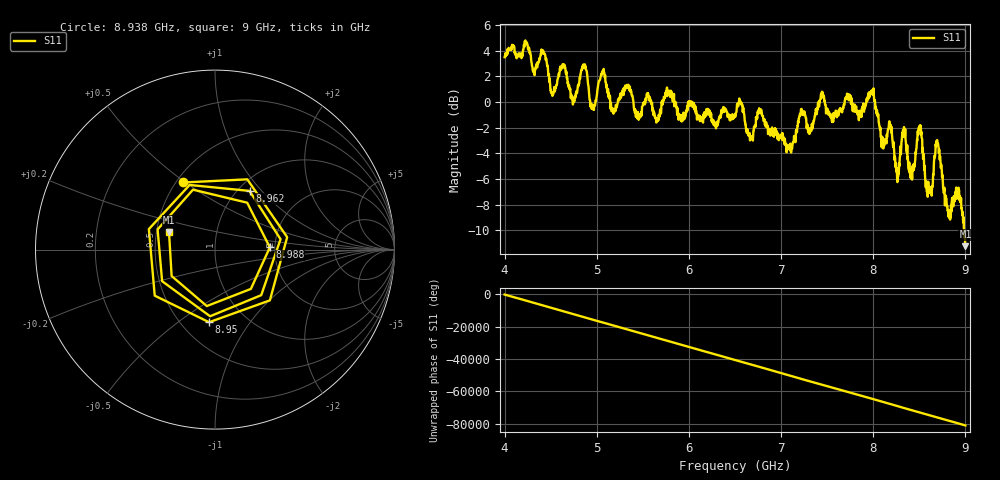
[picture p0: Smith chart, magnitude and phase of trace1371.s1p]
! Created with skrf 1.8.0 (http://scikit-rf.org).
# Hz S RI R 50.0
!freq ReS11 ImS11
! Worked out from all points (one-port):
!   1601 points, 4 GHz to 9 GHz, reference 50 ohm
!   lowest |S11| = -11.2 dB at 9 GHz (marker M1), VSWR 1.76, Z = 29.1 + j6.19 ohm
!   |S11| at or under -10 dB: 8.98424 GHz to 8.993773 GHz (9.533 MHz wide, 0.106 % of centre); 8.994136 GHz to end of sweep
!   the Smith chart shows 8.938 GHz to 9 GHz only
!   S11 on the Smith chart (normalised r, x): 8.938 GHz: 0.54, +0.49; 8.95 GHz: 0.68, -0.66; 8.962 GHz: 1.13, +0.86; 8.988 GHz: 1.88, +0.05; 9 GHz: 0.58, +0.12
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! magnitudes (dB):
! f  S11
! 4 GHz  3.5
! 4.419 GHz  4.0
! 4.522 GHz  0.8
! 4.625 GHz  2.8
! 4.744 GHz  -0.1
! 4.859 GHz  2.8
! 4.956 GHz  -0.5
! 5.066 GHz  2.3
! 5.25 GHz  0.3
! 5.875 GHz  -0.5
! 6.5 GHz  -0.9
! 7.125 GHz  -3.2
! 7.441 GHz  0.5
! 7.75 GHz  0.3
! 7.988 GHz  0.8
! 8.256 GHz  -5.2
! 8.328 GHz  -2.7
! 8.375 GHz  -4.3
! 8.428 GHz  -5.0
! 8.506 GHz  -2.1
! 8.594 GHz  -6.8
! 8.694 GHz  -3.0
! 8.816 GHz  -8.9
! 8.938 GHz  -7.7
! 8.95 GHz  -7.8
! 8.962 GHz  -8.4
! 8.988 GHz  -10.3
! 9 GHz  -11.2
